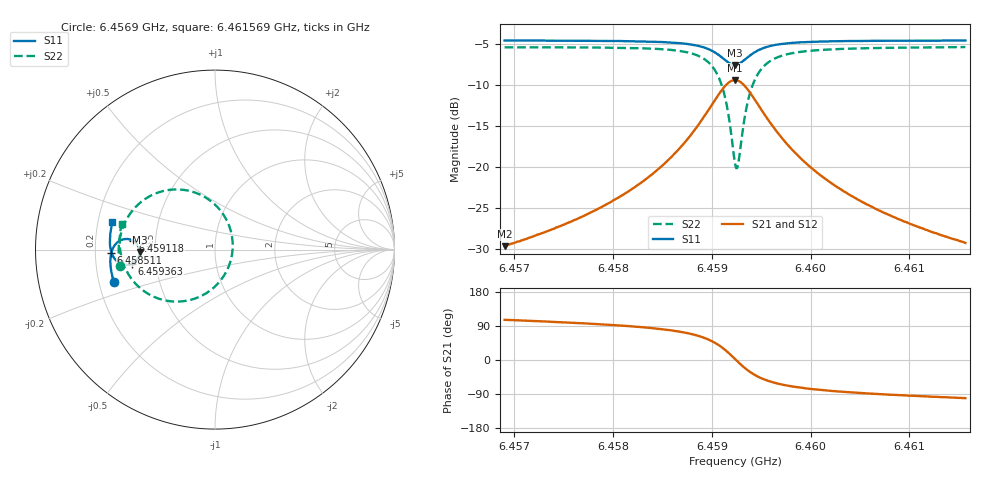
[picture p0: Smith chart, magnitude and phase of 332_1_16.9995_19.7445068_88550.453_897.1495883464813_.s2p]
#  HZ  S  RI  R  50.00
! Rohde & Schwarz Vector Network Analyzer
! Rohde-Schwarz,ZNB20-2Port,1311601062101988,3.16
! Created: UTC 3/20/2024, 11:06:57 PM
! freq[Hz]  re:S11  im:S11  re:S21  im:S21  re:S12  im:S12  re:S22  im:S22
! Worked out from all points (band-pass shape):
!   401 points, 6.4569 GHz to 6.461569 GHz, reference 50 ohm
!   highest |S21| = -9.38 dB at 6.459234 GHz (marker M1); lowest = -29.6 dB at 6.4569 GHz (marker M2)
!   |S21| within 3 dB of the highest: 6.459001 GHz to 6.459468 GHz (467.3 kHz wide, 0.00724 % of centre)
!   lowest |S11| = -7.5 dB at 6.459234 GHz (marker M3), VSWR 2.45, Z = 20.4 - j0.634 ohm
!   |S11| at or under -10 dB: nowhere
!   |S22| runs from -20.1 to -5.4 dB; largest |S21 - S12| = 0.013
!   S11 on the Smith chart (normalised r, x): 6.4569 GHz: 0.26, -0.14; 6.458511 GHz: 0.27, -0.02; 6.459118 GHz: 0.37, +0.05; 6.459363 GHz: 0.37, -0.07; 6.461569 GHz: 0.26, +0.12
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6.4568999e9  -0.5647 -0.178  -0.00904 0.0317  -0.00738 0.0318  -0.53 -0.0909
6.457682e9  -0.5796 -0.11  -0.00611 0.0494  -0.00351 0.0489  -0.5367 -0.000672
6.4581022e9  -0.583 -0.0684  -0.000413 0.068  0.0026 0.0668  -0.5298 0.0642
6.458464e9  -0.5796 -0.0256  0.0131 0.0972  0.017 0.0945  -0.5051 0.1437
6.4585107e9  -0.5783 -0.0193  0.0165 0.1024  0.0205 0.0996  -0.499 0.1568
6.4587208e9  -0.5664 0.0126  0.042 0.1338  0.0462 0.1293  -0.4512 0.2277
6.4588725e9  -0.5455 0.039  0.0839 0.1641  0.0873 0.1575  -0.3745 0.2913
6.4590243e9  -0.4999 0.0588  0.1743 0.1831  0.1754 0.1758  -0.2099 0.3352
6.4591177e9  -0.4557 0.0491  0.263 0.1529  0.2633 0.1468  -0.0466 0.2868
6.4591643e9  -0.4349 0.0306  0.306 0.1109  0.3073 0.1055  0.0346 0.2126
6.4592344e9  -0.42 -0.0128  0.3391 0.0156  0.3426 0.00864  0.0985 0.0368
6.4592461e9  -0.4205 -0.0208  0.3391 -0.00172  0.3428 -0.00929  0.0984 0.00402
6.4592694e9  -0.4238 -0.0361  0.3338 -0.0359  0.3373 -0.0449  0.0878 -0.0603
6.4593278e9  -0.4442 -0.0668  0.2964 -0.1067  0.2978 -0.1189  0.0128 -0.1929
6.4593628e9  -0.4608 -0.0779  0.265 -0.1354  0.2639 -0.1482  -0.0506 -0.2441
6.4594562e9  -0.5035 -0.0846  0.1818 -0.1663  0.1757 -0.1776  -0.2152 -0.2897
6.4596079e9  -0.5469 -0.0642  0.0954 -0.1533  0.0871 -0.1593  -0.3792 -0.2422
6.4597713e9  -0.5684 -0.0368  0.0511 -0.1263  0.0438 -0.1289  -0.4582 -0.1718
6.4600164e9  -0.5812 -0.00116  0.0224 -0.0954  0.0167 -0.0959  -0.5053 -0.0911
6.4603666e9  -0.5857 0.0399  0.00643 -0.0692  0.00246 -0.0686  -0.5269 -0.0129
6.4607985e9  -0.5838 0.083  -0.00122 -0.0509  -0.00406 -0.0501  -0.5311 0.0548
6.4615688e9  -0.5714 0.151  -0.00638 -0.0339  -0.008 -0.033  -0.52 0.1445
